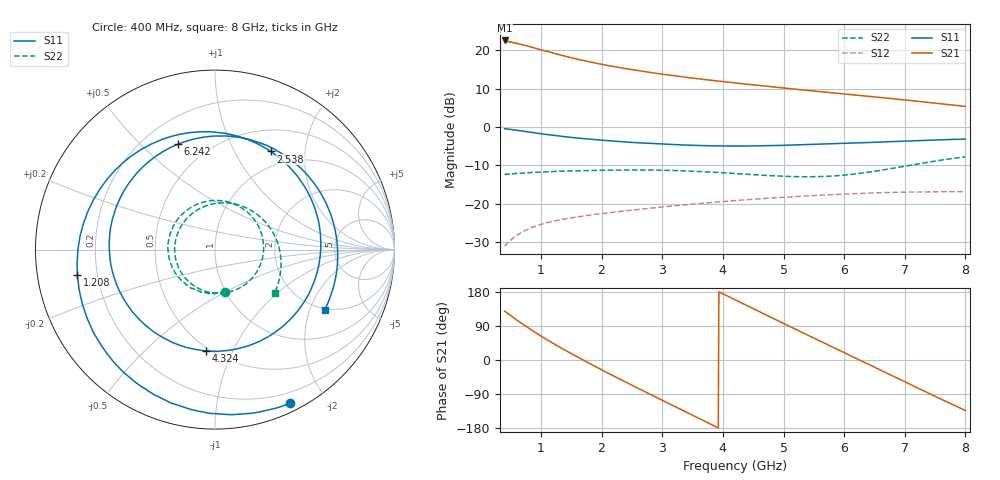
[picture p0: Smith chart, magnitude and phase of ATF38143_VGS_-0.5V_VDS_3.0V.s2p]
!Agilent Technologies,N5227A,US51270349,A.09.80.20
!Agilent N5227A: A.09.80.20
!Date: Wednesday, February 17, 2021 20:16:10
!Correction: S11(Full 2 Port(1,2))
!S21(Full 2 Port(1,2))
!S12(Full 2 Port(1,2))
!S22(Full 2 Port(1,2))
!S2P File: Measurements: S11, S21, S12, S22:
# Hz S  RI  R 50
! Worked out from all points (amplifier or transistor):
!   801 points, 400 MHz to 8 GHz, reference 50 ohm
!   highest |S21| = 22.6 dB at 400 MHz (marker M1)
!   |S21| within 3 dB of that: start of sweep to 1.133 GHz
!   unconditionally stable (mu >= 1): 4.734 GHz to end of sweep
!   at 1.663 GHz: K = 0.54, MSG = 20.4 dB, |S12| = -23.3 dB
!   at 4.2 GHz: K = 0.96, MSG = 15.3 dB, |S12| = -19.2 dB
!   at 8 GHz: K = 1.18, MAG = 8.6 dB, |S12| = -16.8 dB
!   S11 on the Smith chart (normalised r, x): 400 MHz: 0.09, -1.60; 1.208 GHz: 0.12, -0.09; 2.538 GHz: 0.78, +1.41; 4.324 GHz: 0.48, -0.79; 6.242 GHz: 0.34, +0.65; 8 GHz: 1.95, -2.55
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4e8  0.4194 -0.8547  -8.465 10.46  0.0197 0.0199  0.058 -0.2337
5.9e8  -0.0236 -0.9128  -3.573 11.74  0.0342 0.0168  -0.0794 -0.2372
7.42e8  -0.3368 -0.81  0.00911 11.54  0.0441 0.00903  -0.1637 -0.1931
9.795e8  -0.6573 -0.4951  4.31 9.34  0.0527 -0.00846  -0.2453 -0.0813
1.2075e9  -0.7665 -0.1411  6.679 6.285  0.0526 -0.0276  -0.2605 0.0393
1.4165e9  -0.7289 0.1582  7.581 3.402  0.0462 -0.0441  -0.2292 0.1351
1.673e9  -0.5564 0.4423  7.442 0.2243  0.0317 -0.0611  -0.1544 0.2216
2.11e9  -0.1081 0.6541  5.192 -3.629  -0.00424 -0.0761  0.0146 0.2733
2.5375e9  0.311 0.547  1.926 -5.187  -0.0446 -0.0705  0.1666 0.2199
2.9365e9  0.5476 0.2539  -0.9875 -4.867  -0.0772 -0.0457  0.2528 0.1059
3.2595e9  0.5861 -0.0354  -2.763 -3.669  -0.0939 -0.0141  0.2703 -0.00613
3.5635e9  0.4992 -0.2877  -3.747 -2.083  -0.0977 0.021  0.2415 -0.1077
3.877e9  0.3082 -0.4779  -4.004 -0.3083  -0.0874 0.058  0.1723 -0.1908
4.2e9  0.051 -0.5638  -3.514 1.345  -0.0618 0.0911  0.0706 -0.2379
4.3235e9  -0.0522 -0.5636  -3.162 1.87  -0.0486 0.1008  0.0279 -0.2425
4.884e9  -0.4533 -0.3533  -0.8887 3.18  0.0274 0.1168  -0.152 -0.1729
5.473e9  -0.5845 0.0994  1.487 2.565  0.1037 0.0745  -0.2242 0.0206
5.8625e9  -0.461 0.3949  2.401 1.374  0.1306 0.0194  -0.172 0.1548
6.2425e9  -0.2066 0.5868  2.587 0.0201  0.1291 -0.0426  -0.0545 0.242
6.7365e9  0.2154 0.6062  1.878 -1.444  0.0841 -0.1122  0.1451 0.244
7.335e9  0.6162 0.2631  0.2465 -2.103  -0.0134 -0.1426  0.336 0.0693
8e9  0.6116 -0.3356  -1.276 -1.352  -0.113 -0.0891  0.3326 -0.2394
